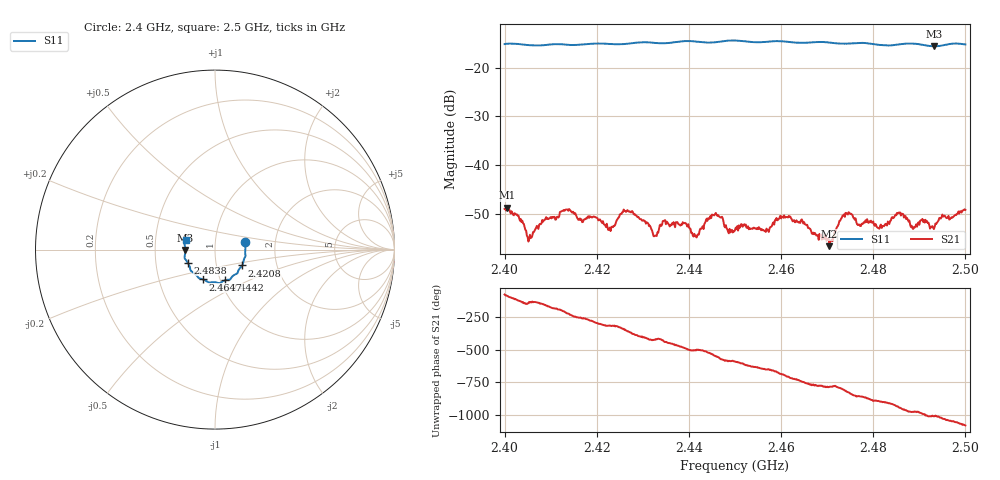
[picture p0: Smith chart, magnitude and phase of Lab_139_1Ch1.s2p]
# Hz S RI R 50
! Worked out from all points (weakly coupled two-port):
!   601 points, 2.4 GHz to 2.5 GHz, reference 50 ohm
!   highest |S21| = -48.73 dB at 2.4005 GHz (marker M1); lowest = -56.6 dB at 2.4705 GHz (marker M2)
!   lowest |S11| = -15.7 dB at 2.4932 GHz (marker M3), VSWR 1.40, Z = 35.8 - j0.128 ohm
!   |S11| at or under -10 dB: start of sweep to end of sweep
!   S12 and S22 are empty: the file has one direction only
!   S11 on the Smith chart (normalised r, x): 2.4 GHz: 1.40, +0.12; 2.4208 GHz: 1.33, -0.24; 2.4442 GHz: 1.05, -0.37; 2.4647 GHz: 0.83, -0.28; 2.4838 GHz: 0.73, -0.11; 2.5 GHz: 0.71, +0.08
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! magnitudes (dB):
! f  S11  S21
! 2.4 GHz  -15.2  -49.0
! 2.4005 GHz  -15.1  -48.7
! 2.4053 GHz  -15.4  -55.2
! 2.413 GHz  -15.3  -49.4
! 2.4167 GHz  -15.3  -51.1
! 2.4208 GHz  -15.1  -51.4
! 2.423 GHz  -15.2  -53.5
! 2.4272 GHz  -15.1  -49.5
! 2.4333 GHz  -15.0  -53.9
! 2.439 GHz  -14.6  -51.9
! 2.4415 GHz  -14.7  -54.5
! 2.4442 GHz  -14.9  -50.9
! 2.45 GHz  -14.5  -53.3
! 2.4647 GHz  -14.9  -51.5
! 2.4667 GHz  -14.8  -54.0
! 2.4705 GHz  -14.9  -56.6
! 2.4745 GHz  -15.1  -50.1
! 2.477 GHz  -15.0  -52.2
! 2.4833 GHz  -15.5  -51.8
! 2.4838 GHz  -15.5  -51.4
! 2.4932 GHz  -15.7  -53.1
! 2.5 GHz  -15.3  -49.2
